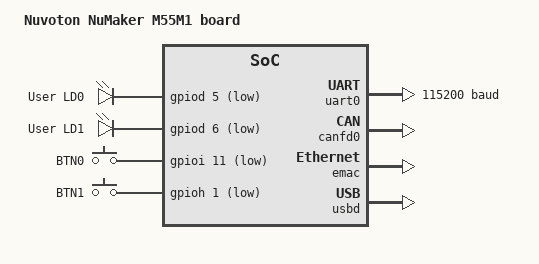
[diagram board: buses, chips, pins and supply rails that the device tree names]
/*
 * Copyright (c) 2025 Nuvoton Technology Corporation.
 *
 * SPDX-License-Identifier: Apache-2.0
 */

/dts-v1/;

#include <nuvoton/m55m1h2l.dtsi>
#include "numaker_m55m1-pinctrl.dtsi"
#include <zephyr/dt-bindings/input/input-event-codes.h>

/ {
	model = "Nuvoton NuMaker M55M1 board";
	compatible = "nuvoton,numaker-m55m1";

	aliases {
		led0 = &green_led;
		led1 = &yellow_led;
		sw0 = &btn0;
		sw1 = &btn1;
	};

	chosen {
		zephyr,console = &uart0;
		zephyr,shell-uart = &uart0;
		zephyr,sram = &sram0;
		zephyr,dtcm = &dtcm;
		zephyr,itcm = &itcm;
		zephyr,flash = &flash0;
		zephyr,code-partition = &slot0_partition;
		zephyr,canbus = &canfd0;
	};

	leds {
		compatible = "gpio-leds";

		green_led: led_0 {
			gpios = <&gpiod 5 GPIO_ACTIVE_LOW>;
			label = "User LD0";
		};

		yellow_led: led_1 {
			gpios = <&gpiod 6 GPIO_ACTIVE_LOW>;
			label = "User LD1";
		};
	};

	gpio_keys {
		compatible = "gpio-keys";

		btn0: btn0 {
			label = "BTN0";
			gpios = <&gpioi 11 GPIO_ACTIVE_LOW>;
			zephyr,code = <INPUT_KEY_0>;
		};

		btn1: btn1 {
			label = "BTN1";
			gpios = <&gpioh 1 GPIO_ACTIVE_LOW>;
			zephyr,code = <INPUT_KEY_1>;
		};
	};
};

&gpiod {
	status = "okay";
};

&gpioe {
	status = "okay";
};

&gpioh {
	status = "okay";
};

&gpioi {
	status = "okay";
};

&flash0 {
	partitions {
		compatible = "fixed-partitions";
		#address-cells = <1>;
		#size-cells = <1>;

		boot_partition: partition@0 {
			label = "mcuboot";
			reg = <0x0 0x8000>;
		};

		slot0_partition: partition@8000 {
			label = "image-0";
			reg = <0x8000 0xf8000>;
		};

		slot1_partition: partition@100000 {
			label = "image-1";
			reg = <0x100000 0xf8000>;
		};

		storage_partition: partition@1f8000 {
			label = "storage";
			reg = <0x1f8000 0x8000>;
		};
	};
};

&sram0 {
	reg = <0x20100000 DT_SIZE_K(1344)>;
};

&uart0 {
	current-speed = <115200>;
	pinctrl-0 = <&uart0_default>;
	pinctrl-names = "default";
	status = "okay";
};

&canfd0 {
	pinctrl-0 = <&canfd0_default>;
	pinctrl-names = "default";
	status = "okay";
};

&emac {
	pinctrl-0 = <&emac_default>;
	pinctrl-names = "default";
	status = "okay";
};

/* On enabled, usbd is required to be clocked in 48MHz. */
zephyr_udc0: &usbd {
	pinctrl-0 = <&usbd_default>;
	pinctrl-names = "default";
	status = "okay";
};
